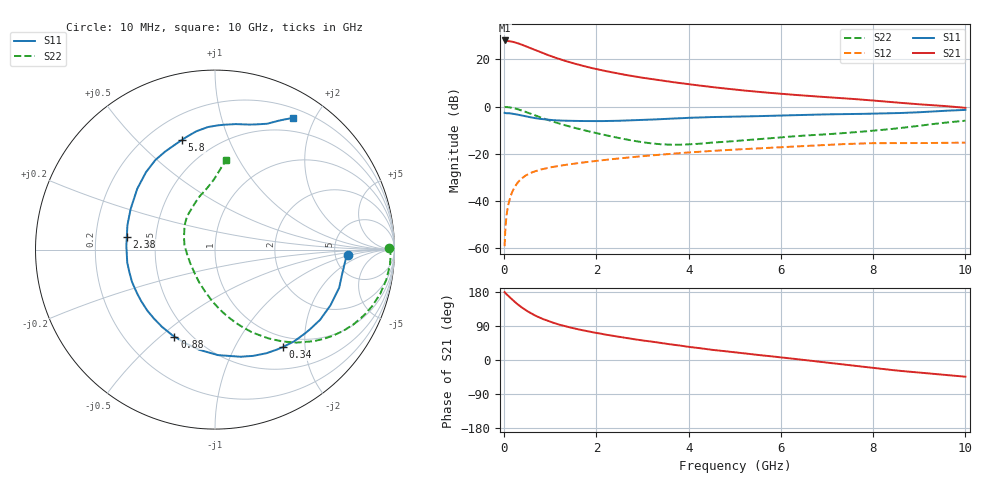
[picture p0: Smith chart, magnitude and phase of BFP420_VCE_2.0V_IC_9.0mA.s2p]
! Infineon Technologies  Discrete & RF Semiconductors
! BFP420
! VCE =  2.0 V,  IC =  9.0 mA
! Common Emitter S-Parameters:  Jan 2016
# GHz  S  MA  R  50
!  f  S11  S21  S12  S22
! GHz  MAG  ANG  MAG  ANG  MAG  ANG  MAG  ANG
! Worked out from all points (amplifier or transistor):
!   233 points, 10 MHz to 10 GHz, reference 50 ohm
!   highest |S21| = 28.0 dB at 10 MHz (marker M1)
!   |S21| within 3 dB of that: start of sweep to 539.2 MHz
!   unconditionally stable (mu >= 1): 2.425 GHz to end of sweep
!   at 200 MHz: K = 0.12, MSG = 31.3 dB, |S12| = -35.1 dB
!   at 1.74 GHz: K = 0.81, MSG = 20.4 dB, |S12| = -23.6 dB
!   at 10 GHz: K = 1.09, MAG = 5.5 dB, |S12| = -15.3 dB
!   S11 on the Smith chart (normalised r, x): 10 MHz: 6.58, -0.86; 340 MHz: 0.82, -1.59; 880 MHz: 0.41, -0.56; 2.38 GHz: 0.34, +0.07; 5.8 GHz: 0.33, +0.69; 10 GHz: 0.32, +1.70
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0.01  0.7402 -2.3  25.22 179.1  0.0011 90.6  0.9719 0.6
0.02  0.7318 -3.5  24.66 177.6  0.0019 85.0  0.979 -1.8
0.1  0.7238 -17.1  24.48 168.1  0.0091 82.4  0.9691 -10.0
0.19  0.705 -32.2  23.53 157.9  0.0167 75.1  0.9351 -18.7
0.26  0.6848 -43.2  22.5 150.3  0.0221 70.2  0.8995 -24.9
0.34  0.6614 -55.2  21.25 142.6  0.0275 65.2  0.8515 -31.6
0.45  0.629 -70.3  19.38 132.9  0.0337 59.4  0.7817 -39.6
0.6  0.588 -88.4  16.9 121.8  0.0402 53.3  0.6894 -48.7
0.7  0.5651 -98.9  15.41 115.6  0.0436 50.3  0.634 -53.8
0.88  0.5345 -115.0  13.13 106.2  0.0485 46.4  0.5492 -61.4
1  0.5218 -124.5  11.88 100.8  0.0514 44.4  0.5013 -66.2
1.2  0.5077 -137.9  10.16 93.2  0.0556 42.1  0.4351 -72.9
1.42  0.4981 -150.3  8.72 86.2  0.0598 40.4  0.3781 -79.5
1.68  0.4942 -162.6  7.428 79.0  0.0647 38.8  0.3247 -86.8
2.38  0.4971 171.6  5.221 63.3  0.0776 35.1  0.2268 -107.0
3.4  0.5424 144.3  3.576 44.9  0.096 29.2  0.159 -146.6
4  0.5779 131.7  2.98 34.7  0.1067 25.2  0.1585 -172.4
5.1  0.6147 115.8  2.242 18.9  0.124 17.4  0.1891 155.9
5.8  0.6376 106.9  1.94 9.6  0.1345 12.5  0.2148 141.5
6.8  0.6767 95.5  1.633 -4.0  0.1508 4.5  0.2521 124.4
8.4  0.7211 75.1  1.245 -26.3  0.1681 -11.7  0.3351 99.3
10  0.8508 59.5  0.941 -44.1  0.1721 -22.9  0.5021 82.8
